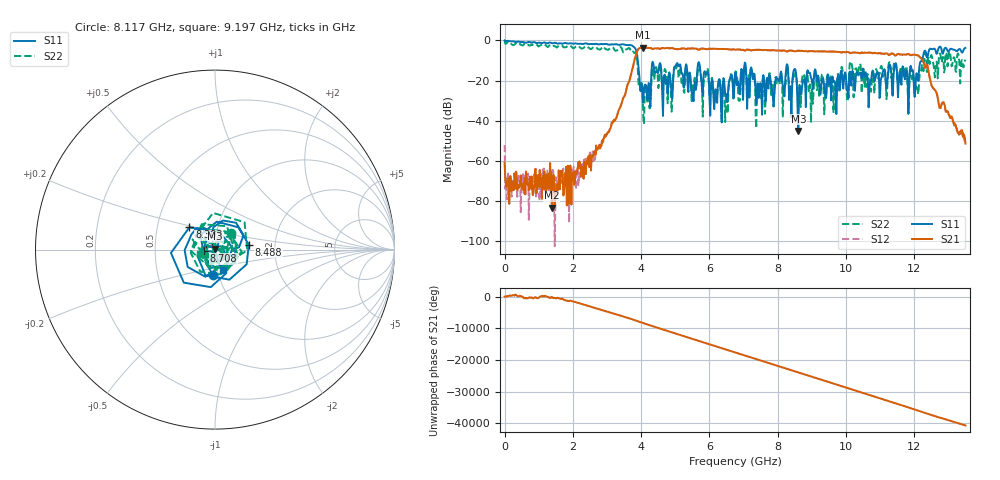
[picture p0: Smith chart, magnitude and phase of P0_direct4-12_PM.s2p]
!Agilent Technologies,N5230A,MY45000845,A.06.01.05
!Agilent N5230A: A.06.01.05
!Date: Wednesday, February 05, 2014 16:41:24
!Correction: S11(Full 2 Port(1,2)) S21(Full 2 Port(1,2)) S12(Full 2 Port(1,2)) S22(Full 2 Port(1,2))
!S2P File: Measurements: S11, S21, S12, S22:
# Hz S  dB  R 50
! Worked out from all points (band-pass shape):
!   801 points, 300 kHz to 13.5 GHz, reference 50 ohm
!   highest |S21| = -3.73 dB at 4.05 GHz (marker M1); lowest = -83.2 dB at 1.384 GHz (marker M2)
!   |S21| within 3 dB of the highest: 3.862 GHz to 11.11 GHz (7.244 GHz wide, 96.8 % of centre); 11.12 GHz to 11.22 GHz (98.3 MHz wide, 0.88 % of centre)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
!   lowest |S11| = -45.1 dB at 8.606 GHz (marker M3), VSWR 1.01, Z = 50.1 + j0.553 ohm
!   |S11| at or under -10 dB: 3.902 GHz to 12.23 GHz (8.329 GHz wide, 103 % of centre)
!   |S22| runs from -43.7 to -0.1 dB; largest |S21 - S12| = 0.0091
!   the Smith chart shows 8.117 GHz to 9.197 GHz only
!   S11 on the Smith chart (normalised r, x): 8.117 GHz: 0.94, -0.27; 8.303 GHz: 0.73, +0.19; 8.488 GHz: 1.46, +0.08; 8.708 GHz: 0.88, -0.01; 9.197 GHz: 1.07, -0.25
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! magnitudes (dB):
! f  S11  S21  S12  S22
! 300 kHz  -0.1  -60.7  -52.1  -0.1
! 135.3 MHz  -0.4  -81.3  -75.4  -0.7
! 1.384 GHz  -1.4  -83.2  -64.1  -2.2
! 2.261 GHz  -1.8  -62.7  -61.8  -4.1
! 3.274 GHz  -1.9  -38.4  -38.7  -5.1
! 3.797 GHz  -3.4  -10.5  -10.4  -6.3
! 4.05 GHz  -31.1  -3.7  -3.7  -29.2
! 4.506 GHz  -15.4  -4.0  -4.0  -23.7
! 5.535 GHz  -30.3  -4.1  -4.1  -21.7
! 5.906 GHz  -17.0  -4.4  -4.3  -16.4
! 6.413 GHz  -18.8  -4.4  -4.4  -21.3
! 6.75 GHz  -17.5  -4.6  -4.6  -17.1
! 8.117 GHz  -16.9  -5.2  -5.1  -17.7
! 8.303 GHz  -14.5  -5.3  -5.4  -14.9
! 8.488 GHz  -14.4  -5.4  -5.4  -18.6
! 8.606 GHz  -45.1  -5.2  -5.2  -31.8
! 8.708 GHz  -24.1  -5.3  -5.2  -20.1
! 9.011 GHz  -21.2  -5.4  -5.4  -24.8
! 9.197 GHz  -18.2  -5.5  -5.5  -21.5
! 11.26 GHz  -13.3  -7.2  -7.2  -11.3
! 12.18 GHz  -10.6  -8.6  -8.6  -16.2
! 13.5 GHz  -3.8  -51.3  -50.2  -9.6
